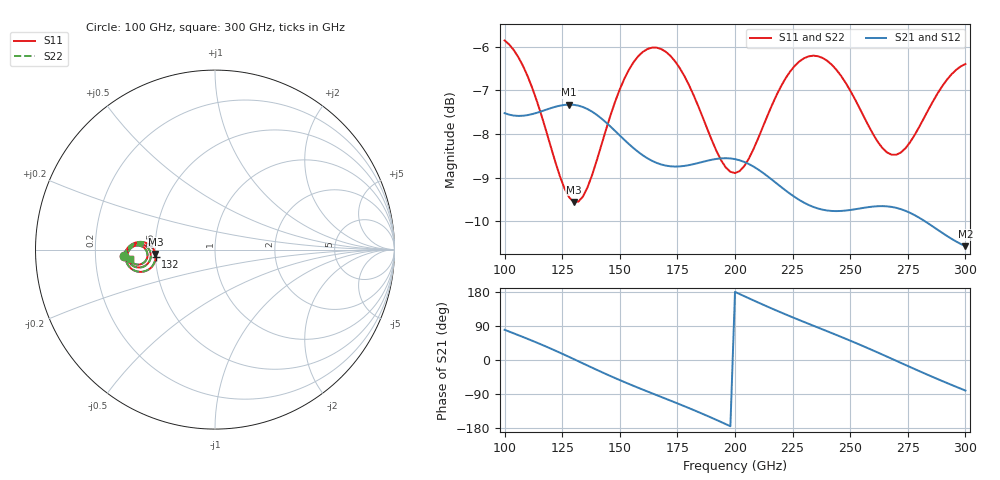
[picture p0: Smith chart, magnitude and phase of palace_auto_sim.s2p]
#  GHZ S DB R 50
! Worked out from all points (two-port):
!   101 points, 100 GHz to 300 GHz, reference 50 ohm
!   highest |S21| = -7.33 dB at 128 GHz (marker M1); lowest = -10.6 dB at 300 GHz (marker M2)
!   |S21| within 3 dB of the highest: start of sweep to 291.8 GHz
!   lowest |S11| = -9.6 dB at 130 GHz (marker M3), VSWR 2.00, Z = 25.1 - j1.4 ohm
!   |S11| at or under -10 dB: nowhere
!   |S22| runs from -9.5 to -5.9 dB; largest |S21 - S12| = 4.9e-14
!   S11 on the Smith chart (normalised r, x): 100 GHz: 0.33, -0.03; 132 GHz: 0.50, -0.05; 300 GHz: 0.35, -0.05
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100  -5.86 -175.9  -7.52 79.7  -7.52 79.7  -5.85 -175.8
114  -7.25 174.5  -7.52 45.8  -7.52 45.8  -7.23 174.6
128  -9.45 -178.5  -7.33 8.1  -7.33 8.1  -9.42 -178.5
130  -9.56 -175.7  -7.33 2.4  -7.33 2.4  -9.52 -175.7
132  -9.55 -172.8  -7.35 -3.3  -7.35 -3.3  -9.52 -172.8
134  -9.43 -170.0  -7.38 -9.0  -7.38 -9.0  -9.40 -170.0
142  -8.26 -163.2  -7.65 -31.5  -7.65 -31.5  -8.23 -163.3
150  -6.98 -164.1  -8.04 -53.0  -8.04 -53.0  -6.96 -164.2
158  -6.22 -169.0  -8.41 -73.3  -8.41 -73.3  -6.21 -169.1
168  -6.06 -176.5  -8.70 -97.5  -8.70 -97.5  -6.05 -176.6
184  -7.36 175.6  -8.67 -137.1  -8.67 -137.1  -7.36 175.6
192  -8.40 177.6  -8.57 -158.3  -8.57 -158.3  -8.41 177.6
200  -8.90 -175.2  -8.58 179.6  -8.58 179.6  -8.91 -175.2
208  -8.35 -168.3  -8.75 157.4  -8.75 157.4  -8.36 -168.2
218  -7.12 -167.0  -9.13 130.5  -9.13 130.5  -7.12 -166.9
234  -6.21 -175.1  -9.67 90.5  -9.67 90.5  -6.20 -175.0
250  -7.01 177.3  -9.74 51.1  -9.74 51.1  -6.99 177.4
260  -8.01 178.2  -9.66 25.0  -9.66 25.0  -7.99 178.3
268  -8.48 -176.7  -9.67 3.3  -9.67 3.3  -8.45 -176.6
276  -8.19 -171.0  -9.81 -18.5  -9.81 -18.5  -8.17 -171.0
284  -7.44 -168.8  -10.05 -40.0  -10.05 -40.0  -7.43 -168.8
300  -6.40 -173.7  -10.57 -80.6  -10.57 -80.6  -6.40 -173.8
